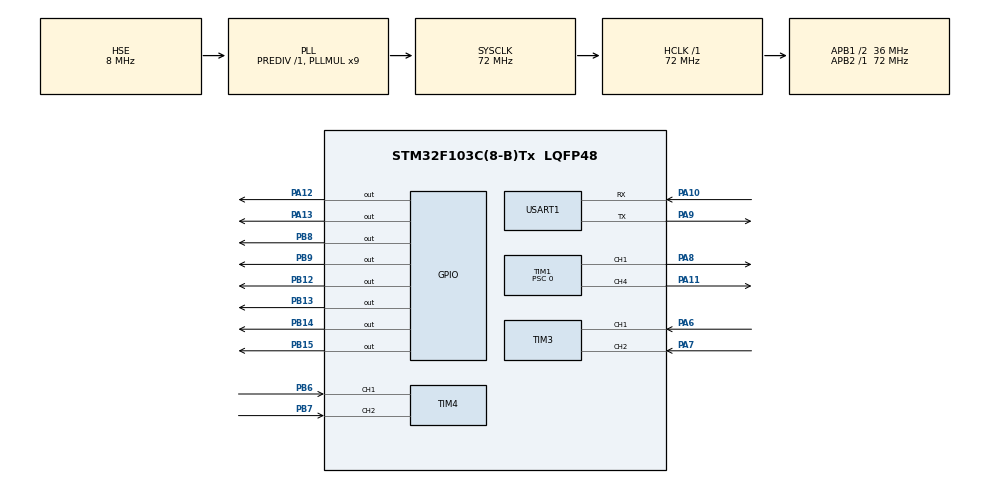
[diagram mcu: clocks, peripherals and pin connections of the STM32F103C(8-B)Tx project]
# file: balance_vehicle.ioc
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Mcu.Family=STM32F1
Mcu.Name=STM32F103C(8-B)Tx
Mcu.Package=LQFP48
NVIC.PriorityGroup=NVIC_PRIORITYGROUP_4
NVIC.TIM1_BRK_IRQn=true\:0\:0\:false\:false\:true\:true\:true\:true
NVIC.TIM1_CC_IRQn=true\:0\:0\:false\:false\:true\:true\:true\:true
NVIC.TIM1_TRG_COM_IRQn=true\:0\:0\:false\:false\:true\:true\:true\:true
NVIC.TIM1_UP_IRQn=true\:0\:0\:false\:false\:true\:true\:true\:true
NVIC.TIM2_IRQn=true\:0\:0\:false\:false\:true\:true\:true\:true
NVIC.USART1_IRQn=true\:0\:0\:false\:false\:true\:true\:true\:true
PA10.Mode=Asynchronous
PA10.Signal=USART1_RX
PA11.Signal=S_TIM1_CH4
PA12.Signal=GPIO_Output
PA13.Signal=GPIO_Output
PA6.Signal=S_TIM3_CH1
PA7.Signal=S_TIM3_CH2
PA8.Signal=S_TIM1_CH1
PA9.Mode=Asynchronous
PA9.Signal=USART1_TX
PB12.Signal=GPIO_Output
PB13.Signal=GPIO_Output
PB14.Signal=GPIO_Output
PB15.Signal=GPIO_Output
PB6.Signal=S_TIM4_CH1
PB7.Signal=S_TIM4_CH2
PB8.Signal=GPIO_Output
PB9.Signal=GPIO_Output
PC14-OSC32_IN.Mode=LSE-External-Oscillator
PC14-OSC32_IN.Signal=RCC_OSC32_IN
PC15-OSC32_OUT.Mode=LSE-External-Oscillator
PC15-OSC32_OUT.Signal=RCC_OSC32_OUT
PD0-OSC_IN.Mode=HSE-External-Oscillator
PD0-OSC_IN.Signal=RCC_OSC_IN
PD1-OSC_OUT.Mode=HSE-External-Oscillator
PD1-OSC_OUT.Signal=RCC_OSC_OUT
ProjectManager.HeapSize=0x200
ProjectManager.StackSize=0x400
ProjectManager.TargetToolchain=STM32CubeIDE
RCC.AHBFreq_Value=72000000
RCC.APB1CLKDivider=RCC_HCLK_DIV2
RCC.APB1Freq_Value=36000000
RCC.APB1TimFreq_Value=72000000
RCC.APB2Freq_Value=72000000
RCC.APB2TimFreq_Value=72000000
RCC.HCLKFreq_Value=72000000
RCC.PLLMUL=RCC_PLL_MUL9
RCC.PLLSourceVirtual=RCC_PLLSOURCE_HSE
RCC.SYSCLKFreq_VALUE=72000000
RCC.SYSCLKSource=RCC_SYSCLKSOURCE_PLLCLK
RCC.USBFreq_Value=72000000
SH.S_TIM1_CH1.0=TIM1_CH1,PWM Generation1 CH1
SH.S_TIM1_CH4.0=TIM1_CH4,PWM Generation4 CH4
SH.S_TIM3_CH1.0=TIM3_CH1,Encoder_Interface
SH.S_TIM3_CH2.0=TIM3_CH2,Encoder_Interface
SH.S_TIM4_CH1.0=TIM4_CH1,Encoder_Interface
SH.S_TIM4_CH2.0=TIM4_CH2,Encoder_Interface
TIM1.Channel-PWM\ Generation1\ CH1=TIM_CHANNEL_1
TIM1.Channel-PWM\ Generation4\ CH4=TIM_CHANNEL_4
TIM1.Period=7199
TIM1.Prescaler=0
TIM2.Period=5000
TIM2.Prescaler=72
TIM3.EncoderMode=TIM_ENCODERMODE_TI12
TIM3.IC1Filter=10
TIM3.IC2Filter=10
TIM4.EncoderMode=TIM_ENCODERMODE_TI12
TIM4.IC1Filter=10
TIM4.IC2Filter=10
USART1.VirtualMode=VM_ASYNC
VP_SYS_VS_ND.Mode=No_Debug
VP_TIM2_VS_ClockSourceINT.Mode=Internal
board=custom

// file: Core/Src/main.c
/* USER CODE BEGIN Header */
/**
 ******************************************************************************
 * @file           : main.c
 * @brief          : Main program body
 ******************************************************************************
 * @attention
 *
 * Copyright (c) 2024 STMicroelectronics.
 * All rights reserved.
 *
 * This software is licensed under terms that can be found in the LICENSE file
 * in the root directory of this software component.
 * If no LICENSE file comes with this software, it is provided AS-IS.
 *
 ******************************************************************************
 */
/* USER CODE END Header */
#include "main.h"
#include "tim.h"
#include "usart.h"
#include "gpio.h"

/* USER CODE BEGIN Includes */
#include "MPU6050.h"
#include "stdio.h"
/* USER CODE END Includes */

void SystemClock_Config(void);
/* USER CODE BEGIN PFP */

#ifdef __GNUC__
#define PUTCHAR_PROTOTYPE int __io_putchar(int ch)
#else
#define PUTCHAR_PROTOTYPE    \
  int fputc(int ch, FILE *f) \

#endif
PUTCHAR_PROTOTYPE
{
  HAL_UART_Transmit(&huart1, (uint8_t *)&ch, 1, 0xFFFF);
  return ch;
}

/* USER CODE END PFP */

/* USER CODE BEGIN 0 */
extern float pitch, roll;
extern float motor_left, motor_right;
/* USER CODE END 0 */

int main(void)
{

  /* MCU Configuration--------------------------------------------------------*/

  /* Reset of all peripherals, Initializes the Flash interface and the Systick. */
  HAL_Init();

  /* Configure the system clock */
  SystemClock_Config();

  /* Initialize all configured peripherals */
  MX_GPIO_Init();
  MX_TIM1_Init();
  MX_TIM3_Init();
  MX_TIM4_Init();
  MX_TIM2_Init();
  MX_USART1_UART_Init();
  /* USER CODE BEGIN 2 */
  HAL_TIM_Base_Start_IT(&htim2);
  HAL_TIM_Encoder_Start(&htim3, TIM_CHANNEL_ALL);
  HAL_TIM_Encoder_Start(&htim4, TIM_CHANNEL_ALL);
  HAL_TIM_PWM_Start(&htim1, TIM_CHANNEL_1);
  HAL_TIM_PWM_Start(&htim1, TIM_CHANNEL_4);
  MPU6050_initialize();

  /* USER CODE END 2 */

  /* Infinite loop */
  /* USER CODE BEGIN WHILE */
  while (1)
  {
//    printf("Hello\n");
	  // HAL_UART_Transmit(&huart1, "Hello\n", 6, 0xFFFF);
    printf("pitch, roll: %f, %f\n", pitch, roll);
    /* USER CODE END WHILE */

  }
}

void SystemClock_Config(void)
{
  RCC_OscInitTypeDef RCC_OscInitStruct = {0};
  RCC_ClkInitTypeDef RCC_ClkInitStruct = {0};

  /** Initializes the RCC Oscillators according to the specified parameters
  * in the RCC_OscInitTypeDef structure.
  */
  RCC_OscInitStruct.OscillatorType = RCC_OSCILLATORTYPE_HSE;
  RCC_OscInitStruct.HSEState = RCC_HSE_ON;
  RCC_OscInitStruct.HSEPredivValue = RCC_HSE_PREDIV_DIV1;
  RCC_OscInitStruct.HSIState = RCC_HSI_ON;
  RCC_OscInitStruct.PLL.PLLState = RCC_PLL_ON;
  RCC_OscInitStruct.PLL.PLLSource = RCC_PLLSOURCE_HSE;
  RCC_OscInitStruct.PLL.PLLMUL = RCC_PLL_MUL9;
  if (HAL_RCC_OscConfig(&RCC_OscInitStruct) != HAL_OK)
  {
    Error_Handler();
  }

  /** Initializes the CPU, AHB and APB buses clocks
  */
  RCC_ClkInitStruct.ClockType = RCC_CLOCKTYPE_HCLK|RCC_CLOCKTYPE_SYSCLK
                              |RCC_CLOCKTYPE_PCLK1|RCC_CLOCKTYPE_PCLK2;
  RCC_ClkInitStruct.SYSCLKSource = RCC_SYSCLKSOURCE_PLLCLK;
  RCC_ClkInitStruct.AHBCLKDivider = RCC_SYSCLK_DIV1;
  RCC_ClkInitStruct.APB1CLKDivider = RCC_HCLK_DIV2;
  RCC_ClkInitStruct.APB2CLKDivider = RCC_HCLK_DIV1;

  if (HAL_RCC_ClockConfig(&RCC_ClkInitStruct, FLASH_LATENCY_2) != HAL_OK)
  {
    Error_Handler();
  }
}

void Error_Handler(void)
{
  __disable_irq();
  while (1)
  {
  }
}
